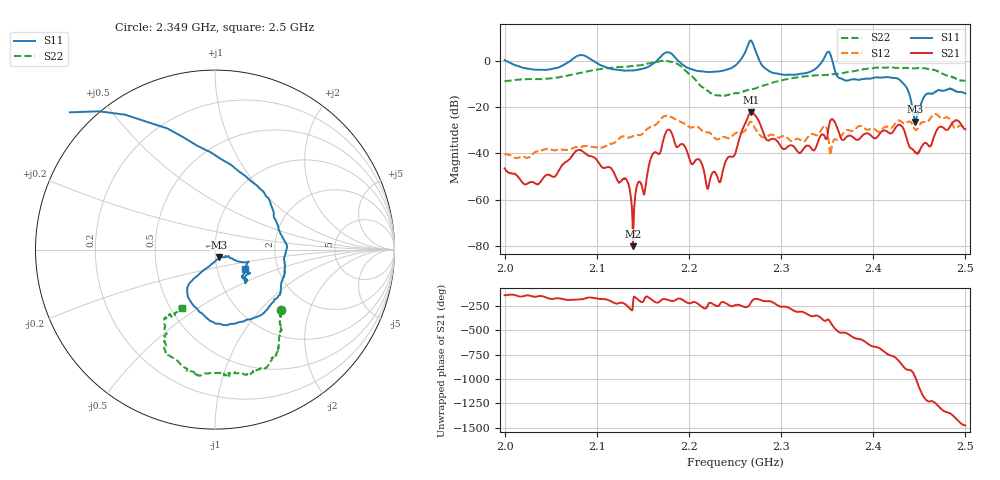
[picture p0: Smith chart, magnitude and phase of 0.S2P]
! C:\Users\rflab\Downloads\dp2_kdzw\0.S2P
! Touchstone 1.1 file saved by VNA.EXE V1.65 (www.ke5fx.com/gpib/readme.htm)
! 12/12/2024 6:41:22 PM
!  Source: HEWLETT PACKARD,8753D,0,6.14
!  Min freq: 2.000000E+009 Hz
!  Max freq: 2.500000E+009 Hz
!  Points: 801
!  Params: S11 S21 S12 S22
# GHZ S MA R 50
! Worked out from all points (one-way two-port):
!   801 points, 2 GHz to 2.5 GHz, reference 50 ohm
!   highest |S21| = -22.09 dB at 2.268 GHz (marker M1); lowest = -80.0 dB at 2.139 GHz (marker M2)
!   lowest |S11| = -26.3 dB at 2.446 GHz (marker M3), VSWR 1.10, Z = 52.3 - j4.38 ohm
!   |S11| at or under -10 dB: 2.433 GHz to end of sweep
!   |S22| runs from -15.1 to 0.2 dB; largest |S21 - S12| = 0.12
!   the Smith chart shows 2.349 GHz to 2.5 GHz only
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2  1.031 3.3  0.004776 -137.4  0.009736 1.0  0.3591 -4.4
2.0575  0.7108 -29.5  0.003839 -169.1  0.01189 133.9  0.4385 -29.5
2.08375  1.328 -12.5  0.01137 -179.7  0.01407 42.0  0.5568 -38.4
2.131875  0.6165 -13.6  0.002793 122.9  0.02255 -156.4  0.7421 -72.5
2.139375  0.6186 -19.9  0.0001 145.6  0.02356 174.5  0.7716 -78.2
2.166875  1.078 -38.9  0.009722 147.1  0.04784 42.0  0.9519 -114.7
2.1775  1.531 -10.8  0.03276 173.0  0.06423 -19.3  0.9765 -138.9
2.186875  1.072 13.2  0.0137 -178.9  0.05247 -71.2  0.8718 -169.3
2.220625  0.5732 -12.7  0.001731 123.2  0.02862 112.3  0.2216 94.0
2.25  0.7807 -45.3  0.009708 118.1  0.02692 1.1  0.199 16.7
2.263125  1.933 -43.7  0.05469 100.5  0.03668 -58.2  0.2309 4.0
2.2675  2.731 -3.5  0.07862 148.4  0.04846 -58.8  0.2416 1.7
2.27125  1.867 26.9  0.06825 -177.6  0.03645 -67.7  0.2509 -0.9
2.279375  0.7996 30.8  0.03352 166.6  0.02274 -114.1  0.2883 -6.1
2.33375  0.6092 -54.7  0.01216 5.1  0.02624 14.9  0.4766 -36.8
2.346875  1.163 -112.9  0.02455 -39.1  0.03899 -58.4  0.4926 -41.3
2.351875  1.573 179.5  0.039 -32.8  0.01751 -125.1  0.4984 -43.8
2.355625  1.006 130.0  0.05486 -87.1  0.01588 -74.8  0.5148 -44.3
2.365  0.4113 46.3  0.02167 -163.4  0.02289 -105.9  0.5379 -47.8
2.416875  0.4421 -57.6  0.02806 -30.9  0.03649 12.2  0.7222 -74.1
2.445625  0.04851 -59.4  0.01071 98.1  0.03253 -134.0  0.6883 -92.6
2.5  0.1971 -33.0  0.03336 -37.4  0.0359 -20.3  0.3714 -119.6
